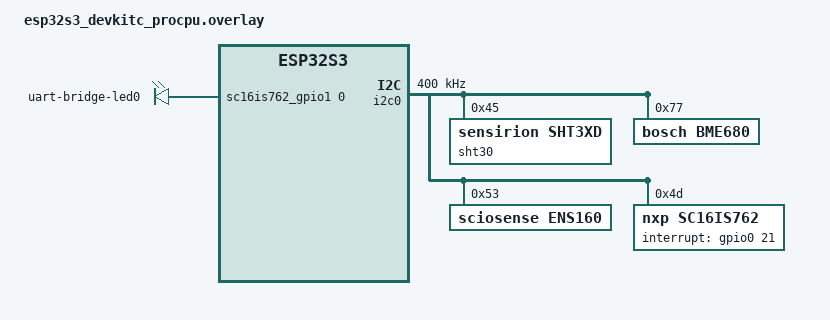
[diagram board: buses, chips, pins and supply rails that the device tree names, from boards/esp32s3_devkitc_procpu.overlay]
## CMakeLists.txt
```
cmake_minimum_required(VERSION 3.20.0)

set(ZephyrBuildConfiguration_ROOT ${CMAKE_SOURCE_DIR}/cmake)
# list(APPEND CONF_FILE ${CMAKE_CURRENT_SOURCE_DIR}/prj.conf)
find_package(Zephyr REQUIRED HINTS $ENV{ZEPHYR_BASE})
message("app: ZEPHYR_SKIA_FIRMWARE_CMAKE_DIR = ${ZEPHYR_SKIA_FIRMWARE_CMAKE_DIR}")

project(skia-sentinel-firmware VERSION 0.1.0)

target_sources(app PRIVATE src/main.c)
```

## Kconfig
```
menu "Zephyr"
source "Kconfig.zephyr"
endmenu

module = APP
module-str = APP
source "subsys/logging/Kconfig.template.log_config"

rsource "boards/Kconfig"
```

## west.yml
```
manifest:
  remotes:
    - name: zephyrproject-rtos
      url-base: https://github.com/zephyrproject-rtos
  projects:
    - name: zephyr
      remote: zephyrproject-rtos
      #revision: main
      revision: v4.0.0 # 9515a5228beb8dd6c77bc3c9b16e97422bd08cd3
      import:
        name-allowlist:
          - cmsis
          - hal_espressif
          - hal_xtensa
          - lvgl
          - littlefs
          - mbedtls
          - mcuboot
          - picolibc
          - segger
          - tinycrypt
      west-commands: scripts/west-commands.yml
      path: ext/zephyr

self:
  path: .
```

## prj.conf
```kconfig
CONFIG_WIFI=y
CONFIG_BT=y
CONFIG_I2C=y
CONFIG_GPIO=y
CONFIG_SENSOR=y
# CONFIG_OPENOCD_SUPPORT=y

# Sensors
CONFIG_CBPRINTF_FP_SUPPORT=y

# ESP32-C3 specific configuration.
CONFIG_LOG_PROCESS_THREAD_STARTUP_DELAY_MS=2000
CONFIG_LOG_BUFFER_SIZE=8192

# UART options
#CONFIG_UART_ASYNC_API=y
CONFIG_UART_INTERRUPT_DRIVEN=y
CONFIG_UART_LINE_CTRL=y

# #
# # [[ DEBUG ]]
# #

CONFIG_DEBUG=y
CONFIG_COMPILER_SAVE_TEMPS=y

# Shell
CONFIG_SHELL=y
CONFIG_SHELL_BACKENDS=y
CONFIG_SHELL_HELP=y
CONFIG_DEVICE_SHELL=y
CONFIG_I2C_LOG_LEVEL_OFF=y
CONFIG_SHELL_BACKEND_SERIAL_LOG_LEVEL_DBG=y
CONFIG_SENSOR_LOG_LEVEL_INF=y

# compiler
CONFIG_CONSOLE=y
CONFIG_DEBUG_OPTIMIZATIONS=y

# UART console
CONFIG_SERIAL=y
CONFIG_PRINTK=y
CONFIG_ASSERT=y
CONFIG_UART_CONSOLE=y

# Thread debugging configuration
CONFIG_THREAD_NAME=y
# CONFIG_THREAD_ANALYZER=y
# CONFIG_THREAD_ANALYZER_AUTO=y
# CONFIG_THREAD_ANALYZER_RUN_UNLOCKED=y
# CONFIG_THREAD_ANALYZER_USE_PRINTK=y
# CONFIG_THREAD_ANALYZER_LOG_LEVEL_DBG=y

# add asserts
CONFIG_ASSERT=y
CONFIG_ASSERT_VERBOSE=y
CONFIG_ASSERT_NO_COND_INFO=n
CONFIG_ASSERT_NO_MSG_INFO=n

# logging
CONFIG_LOG=y
CONFIG_LOG_SPEED=y
CONFIG_PINCTRL_LOG_LEVEL_DBG=y
CONFIG_KERNEL_LOG_LEVEL_INF=y
CONFIG_UART_LOG_LEVEL_DBG=y
CONFIG_UART_CONSOLE_LOG_LEVEL_DBG=y
CONFIG_GPIO_LOG_LEVEL_DBG=y
CONFIG_SENSOR_LOG_LEVEL_DBG=y
CONFIG_MFD_LOG_LEVEL_DBG=y
CONFIG_APP_LOG_LEVEL_DBG=y
```

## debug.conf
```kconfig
CONFIG_DEBUG=y
CONFIG_COMPILER_SAVE_TEMPS=y
CONFIG_GPIO=y

# Shell
CONFIG_SHELL=y
CONFIG_SHELL_BACKENDS=y
CONFIG_SHELL_HELP=y
# CONFIG_DEVICE_SHELL=y
CONFIG_I2C_LOG_LEVEL_OFF=y
CONFIG_SHELL_BACKEND_SERIAL_LOG_LEVEL_DBG=y

# compiler
CONFIG_CONSOLE=y
CONFIG_DEBUG_OPTIMIZATIONS=y

# UART console
CONFIG_SERIAL=y
CONFIG_PRINTK=y
CONFIG_ASSERT=y
CONFIG_UART_CONSOLE=y

# Thread debugging configuration
CONFIG_THREAD_NAME=y
# CONFIG_THREAD_ANALYZER=y
# CONFIG_THREAD_ANALYZER_AUTO=y
# CONFIG_THREAD_ANALYZER_RUN_UNLOCKED=y
# CONFIG_THREAD_ANALYZER_USE_PRINTK=y
# CONFIG_THREAD_ANALYZER_LOG_LEVEL_DBG=y

# add asserts
CONFIG_ASSERT=y
CONFIG_ASSERT_VERBOSE=y
CONFIG_ASSERT_NO_COND_INFO=n
CONFIG_ASSERT_NO_MSG_INFO=n

# logging
CONFIG_LOG=y
CONFIG_LOG_SPEED=y
CONFIG_PINCTRL_LOG_LEVEL_DBG=y
CONFIG_KERNEL_LOG_LEVEL_INF=y
CONFIG_UART_LOG_LEVEL_DBG=y
CONFIG_UART_CONSOLE_LOG_LEVEL_DBG=y
CONFIG_GPIO_LOG_LEVEL_DBG=y
CONFIG_SENSOR_LOG_LEVEL_DBG=y
CONFIG_MFD_LOG_LEVEL_DBG=y
CONFIG_APP_LOG_LEVEL_DBG=y
```

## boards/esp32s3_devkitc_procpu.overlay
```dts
/ {
  aliases {
    sensor-th = &sht30;
    sensor-thp = &bme680;
    sensor-tvoc = &ens160;
    uart-bridge = &sc16is762;
    uart-bridge-led0 = &uart_bridge_led0;
  };

  leds {
    compatible = "gpio-leds";
    uart_bridge_led0: uart_bridge_led0 {
      gpios = <&sc16is762_gpio1 0 GPIO_ACTIVE_HIGH>;
      label = "uart-bridge-led0";
    };
  };
};

&i2c0 {
  status = "okay";
  clock-frequency = < 400000 >;

  sht30: sensirion,sht3xd@45 {
    compatible = "sensirion,sht3xd";
    status = "okay";
    reg = < 0x45 >;
  };

	bme680: bosch,bme680@77 {
		compatible = "bosch,bme680";
    status = "okay";
		reg = <0x77>;
	};

	ens160: ens160@53 {
    compatible = "sciosense,ens160";
    status = "okay";
		reg = <0x53>;
	};

  sc16is762: nxp,sc16is762@4d {
    compatible = "nxp,sc16is762";
    status = "okay";
    reg = <0x4D>;
    xtal-freq = < 1843200 >;
    interrupt-gpios = <&gpio0 21 0>;

    sc16is762_uart0: nxp,sc16is762-uart0 {
      compatible = "nxp,sc16is762-uart-controller";
      uart-controller;
      channel = < 0 >;
    };

    sc16is762_gpio1: nxp,sc16is762-gpio1 {
      compatible = "nxp,sc16is762-gpio-controller";
      gpio-controller;
      channel = < 1 >;
      #gpio-cells = < 2 >;
      ngpios = < 4 >;
    };
  };

  // nordic_npm6001: nordic_npm6001@1 {
  //   compatible = "nordic,npm6001";
  //   reg = < 0x01 >;
  // };
};


// For I2C
// &i2c0 {
//   sc16is7xx: sc16is7xx@90 {
//     compatible = "nxp,sc16is7xx-i2c";
//     reg = < 0x90 >;

//     sc16is7xx_gpio {
//       compatible = "nxp,sc16is7xx-gpio-controller";
//       status = "okay";
//       gpio-controller;
//       #gpio-cells = <1>;
//       ngpios = <8>;
//     };

//     sc16is7xx_uart {
//       compatible = "nxp,sc16is7xx-uart-controller";
//       status = "okay";
//       uart-controller;
//       #gpio-cells = <1>;
//       ngpios = <8>;
//     };
//   };
// };
```

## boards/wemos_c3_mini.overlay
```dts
/ {
  aliases {
    sensor-th = &sht30;
    sensor-thp = &bme680;
    sensor-tvoc = &ens160;
    uart-bridge = &sc16is762;
    i2c0 = &wemos_c3_mini_i2c;
    uart-bridge-led0 = &uart_bridge_led0;
  };

  leds {
    compatible = "gpio-leds";
    uart_bridge_led0: uart_bridge_led0 {
      gpios = <&sc16is762_gpio1 0 GPIO_ACTIVE_HIGH>;
      label = "uart-bridge-led0";
    };
  };
};

&i2c0 {
  clock-frequency = < 400000 >;

  sht30: sensirion,sht3xd@45 {
    compatible = "sensirion,sht3xd";
    status = "okay";
    reg = < 0x45 >;
  };

	bme680: bosch,bme680@77 {
		compatible = "bosch,bme680";
    status = "okay";
		reg = <0x77>;
	};

	ens160: sciosense,ens160@53 {
    compatible = "sciosense,ens160";
    status = "okay";
		reg = <0x53>;
	};

  sc16is762: nxp,sc16is762@4d {
    compatible = "nxp,sc16is762";
    status = "okay";
    reg = <0x4D>;
    xtal-freq = < 1843200 >;
    interrupt-gpios = <&gpio0 21 0>;

    sc16is762_uart0: nxp,sc16is762-uart0 {
      compatible = "nxp,sc16is762-uart-controller";
      uart-controller;
      channel = < 0 >;
    };

    sc16is762_gpio1: nxp,sc16is762-gpio1 {
      compatible = "nxp,sc16is762-gpio-controller";
      gpio-controller;
      channel = < 1 >;
      #gpio-cells = < 2 >;
      ngpios = < 4 >;
    };
  };

  // nordic_npm6001: nordic_npm6001@1 {
  //   compatible = "nordic,npm6001";
  //   reg = < 0x01 >;
  // };
};


// For I2C
// &i2c0 {
//   sc16is7xx: sc16is7xx@90 {
//     compatible = "nxp,sc16is7xx-i2c";
//     reg = < 0x90 >;

//     sc16is7xx_gpio {
//       compatible = "nxp,sc16is7xx-gpio-controller";
//       status = "okay";
//       gpio-controller;
//       #gpio-cells = <1>;
//       ngpios = <8>;
//     };

//     sc16is7xx_uart {
//       compatible = "nxp,sc16is7xx-uart-controller";
//       status = "okay";
//       uart-controller;
//       #gpio-cells = <1>;
//       ngpios = <8>;
//     };
//   };
// };
```

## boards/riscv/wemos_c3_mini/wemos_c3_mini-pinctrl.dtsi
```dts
/*
 * Copyright (c) 2022 Espressif Systems (Shanghai) Co., Ltd.
 *
 * SPDX-License-Identifier: Apache-2.0
 */

#include <zephyr/dt-bindings/pinctrl/esp-pinctrl-common.h>
#include <dt-bindings/pinctrl/esp32c3-pinctrl.h>
#include <zephyr/dt-bindings/pinctrl/esp32c3-gpio-sigmap.h>

&pinctrl {
  uart0_default: uart0_default {
    group1 {
      pinmux =
        <UART0_TX_GPIO21>,
        <UART0_RX_GPIO20>;
    };
  };

  spim2_default: spim2_default {
    group1 {
      pinmux =
        <SPIM2_SCLK_GPIO1>,
        <SPIM2_MISO_GPIO0>,
        <SPIM2_CSEL_GPIO2>;
    };
    group2 {
      pinmux = <SPIM2_MOSI_GPIO4>;
      output-low;
    };
  };

  i2c0_default: i2c0_default {
    group1 {
      // pinmux =
      //   <I2C0_SDA_GPIO10>,
      //   <I2C0_SCL_GPIO8>;
      // bias-pull-up;
      // drive-open-drain;
      // output-high;
      pinmux = <I2C0_SCL_GPIO10>;
    };
    group2 {
        pinmux = <I2C0_SDA_GPIO8>;
        bias-pull-up;
        drive-open-drain;
        output-high;
    };
  };
};
```

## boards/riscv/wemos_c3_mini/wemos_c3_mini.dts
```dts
/*
 * SPDX-License-Identifier: Apache-2.0
 */

/dts-v1/;

#include <espressif/esp32c3.dtsi>
#include "wemos_c3_mini-pinctrl.dtsi"
#include "wemos_c3_mini_connector.dtsi"

/ {
  model = "wemos_c3_mini";
  compatible = "espressif,esp32c3";

  aliases {
    sw0 = &user_button;
    led0 = &user_led;
    i2c-0 = &i2c0;
    watchdog0 = &wdt0;
  };

  chosen {
    zephyr,sram = &sram0;
    zephyr,console = &usb_serial;
    zephyr,shell-uart = &usb_serial;
    zephyr,flash = &flash0;
  };

  leds {
    compatible = "gpio-leds";
    user_led: led {
      gpios = <&gpio0 3 GPIO_ACTIVE_HIGH>;
      label = "LED1";
    };
  };

  gpio_keys {
    compatible = "gpio-keys";
    user_button: user_button {
      label = "0";
      gpios = <&gpio0 0 (GPIO_PULL_UP | GPIO_ACTIVE_LOW)>;
    };
  };
};

&cpu0 {
  clock-frequency = <ESP32_CLK_CPU_160M>;
};

&usb_serial {
  status = "okay";
};

&uart0 {
  status = "okay";
  current-speed = <115200>;
  pinctrl-0 = <&uart0_default>;
  pinctrl-names = "default";
};

&spi2 {
  status = "okay";
  pinctrl-0 = <&spim2_default>;
  pinctrl-names = "default";
	#address-cells = <1>;
	#size-cells = <0>;
};

&i2c0 {
	status = "okay";
	clock-frequency = <I2C_BITRATE_STANDARD>;
	pinctrl-0 = <&i2c0_default>;
	pinctrl-names = "default";
};

&gpio0 {
  status = "okay";
};

&timer0 {
  status = "disabled";
};

&timer1 {
  status = "disabled";
};

&trng0 {
  status = "okay";
};

&flash0 {
  status = "okay";
  partitions {
    compatible = "fixed-partitions";
    #address-cells = <1>;
    #size-cells = <1>;

    /* Reserve 60kB for the bootloader */
    boot_partition: partition@0000 {
      label = "mcuboot";
      reg = <0x00000000 0x0000F000>;
      read-only;
    };

    /* Reserve 1024kB for the application in slot 0 */
    slot0_partition: partition@10000 {
      label = "image-0";
      reg = <0x00010000 0x00100000>;
    };

    /* Reserve 1024kB for the application in slot 1 */
    slot1_partition: partition@110000 {
      label = "image-1";
      reg = <0x00110000 0x00100000>;
    };

    /* Reserve 256kB for the scratch partition */
    scratch_partition: partition@210000 {
      label = "image-scratch";
      reg = <0x00210000 0x00040000>;
    };

    storage_partition: partition@250000 {
      label = "storage";
      reg = <0x00250000 0x00006000>;
    };
  };
};

&wdt0 {
  status = "okay";
};
```

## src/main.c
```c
/*
 * Copyright (c) 2016 Intel Corporation
 *
 * SPDX-License-Identifier: Apache-2.0
 */

#include <stdio.h>

#include <zephyr/device.h>
#include <zephyr/devicetree.h>
#include <zephyr/drivers/gpio.h>
#include <zephyr/drivers/sensor.h>
#include <zephyr/drivers/i2c.h>
#include <zephyr/kernel.h>
#include <zephyr/drivers/sensor/skia_ens160.h>

/* 1000 msec = 1 sec */
#define CYCLE_TIME_MS 1000
#define POLL_CYCLES_COUNT 5
// #define LED0_NODE DT_ALIAS(led0)

/*
 * A build error on this line means your board is unsupported.
 * See the sample documentation for information on how to fix this.
 */
// static const struct gpio_dt_spec led = GPIO_DT_SPEC_GET(LED0_NODE, gpios);

// const struct device* const dev_th = DEVICE_DT_GET_ONE(DT_ALIAS(sensor_th));
static bool th_ready;
static bool gpio_ready;
static struct sensor_value curr_temp = {0}, curr_hum = {0};

static void i2c_scan(const struct device *i2c_dev);
static void measure_th_(const struct device* const dev);
static void measure_thp_(const struct device* const dev);
static void measure_voc_eco2_(const struct device* const dev);

int main(void)
{
    while(esp_log_timestamp() < (20*1000)) {
        k_sleep(K_MSEC(200));
    }

    int ret;
    int cycle = 0;
    gpio_ready = false;

    printk("initializing...\n");

    const struct device *i2c0_dev = DEVICE_DT_GET(DT_NODELABEL(i2c0));

    i2c_scan(i2c0_dev);

    const struct gpio_dt_spec led = GPIO_DT_SPEC_GET(DT_ALIAS(uart_bridge_led0), gpios);
    const struct device* const dev_voc_eco2 = DEVICE_DT_GET(DT_NODELABEL(ens160));
    const struct device* const dev_th = DEVICE_DT_GET(DT_NODELABEL(sht30));
    const struct device* const dev_thp = DEVICE_DT_GET(DT_NODELABEL(bme680));
    int rc;

    k_msleep(CYCLE_TIME_MS * POLL_CYCLES_COUNT);

    printf("Is device %s ready?\n", dev_th->name);
    if (!device_is_ready(dev_th)) {
        printf("Device %s is not ready\n", dev_th->name);
        return 0;
    }

    printf("Is device %s ready?\n", dev_thp->name);
    if (!device_is_ready(dev_thp)) {
        printf("Device %s is not ready\n", dev_thp->name);
        return 0;
    }

    printk("Is device %s ready?\n", dev_voc_eco2->name);
    if (!device_is_ready(dev_voc_eco2)) {
        printf("Device %s is not ready\n", dev_voc_eco2->name);
        return 0;
    }

    printk("Is GPIO device <%s %d> ready?\n", led.port->name, led.pin);
	if (!gpio_is_ready_dt(&led)) {
        printk("failed to initialize led device!\n");
	} else {
        printk("Configuring GPIO device <%s %d>...\n", led.port->name, led.pin);
        ret = gpio_pin_configure_dt(&led, GPIO_OUTPUT_ACTIVE);
        if (ret < 0) {
            printk("failed to configure led pin!\n");
        } else {
            gpio_ready = true;
        }
    }

    k_msleep(CYCLE_TIME_MS * POLL_CYCLES_COUNT);

    while (true) {
        if (cycle % POLL_CYCLES_COUNT == 0) {
            printk("\n");
            th_ready = false;
            measure_th_(dev_th);
            measure_thp_(dev_thp);
            measure_voc_eco2_(dev_voc_eco2);
            printk("\n");
        }

        cycle++;

        if (gpio_ready) {
            ret = gpio_pin_toggle_dt(&led);
            if (ret) {
                printk("failed to toggle led! Error code = %d\n", ret);
                return 0;
            }
        }

        printk(" * ");
        k_msleep(CYCLE_TIME_MS);
    }

    return 0;
}


static void i2c_scan(const struct device *i2c_dev) {

    if (!device_is_ready(i2c_dev)) {
		printk("I2C: Device driver not found.\n");
		return;
	}

	printk("\n    | 0x00 0x01 0x02 0x03 0x04 0x05 0x06 0x07 0x08 0x09 0x0a 0x0b 0x0c 0x0d 0x0e 0x0f |\n");
	printk(  "----|---------------------------------------------------------------------------------");

	uint8_t error = 0u;
	uint8_t dst;
	uint8_t i2c_dev_cnt = 0;
	struct i2c_msg msgs[1];
	msgs[0].buf = &dst;
	msgs[0].len = 1U;
	msgs[0].flags = I2C_MSG_WRITE | I2C_MSG_STOP;

	for (uint16_t x = 0; x <= 0x7f; x++) {
		if (x % 0x10 == 0) {
			printk("|\n0x%02x| ",x);
		}

		if (x >= 1 && x <= 0x7f) {
			error = i2c_transfer(i2c_dev, &msgs[0], 1, x);
            if (error == 0) {
                printk("0x%02x ",x);
                i2c_dev_cnt++;
            } else {
                printk(" --  ");
            }
		} else {
			printk("     ");
		}

        k_msleep(50);
	}
    printk("|\n");
	printk("\nI2C device(s) found on the bus: %d\nScanning done.\n\n", i2c_dev_cnt);
	printk("Find the registered I2C address on: https://i2cdevices.org/addresses\n\n");
}

static void measure_th_(const struct device* const dev)
{
    int rc;
    struct sensor_value temp, hum;

    rc = sensor_sample_fetch(dev);
    if (rc == 0) { rc = sensor_channel_get(dev, SENSOR_CHAN_AMBIENT_TEMP, &temp); }
    if (rc == 0) { rc = sensor_channel_get(dev, SENSOR_CHAN_HUMIDITY, &hum); }
    if (rc != 0) {
        printf("Failed to get measurements from sensor %s!\n", dev->name);
        return;
    }

    printf("SHT3XD: T = %.2f C ; RH = %0.2f %%\n", sensor_value_to_double(&temp), sensor_value_to_double(&hum));
}

static void measure_thp_(const struct device* const dev)
{
    int rc;
    struct sensor_value temp, press, humidity, gas_res;

    rc = sensor_sample_fetch(dev);
    if (rc == 0) rc = sensor_channel_get(dev, SENSOR_CHAN_AMBIENT_TEMP, &temp);
    if (rc == 0) rc = sensor_channel_get(dev, SENSOR_CHAN_PRESS, &press);
    if (rc == 0) rc = sensor_channel_get(dev, SENSOR_CHAN_HUMIDITY, &humidity);
    if (rc == 0) rc = sensor_channel_get(dev, SENSOR_CHAN_GAS_RES, &gas_res);

    if (rc == 0) {
        th_ready = true;
        curr_temp = temp;
        curr_hum = humidity;
        printf(
            "BMP680: T = %d.%06d C; P = %d.%06d kPa; H = %d.%06d %%; G = %d.%06d R\n",
            temp.val1,
            temp.val2,
            press.val1,
            press.val2,
            humidity.val1,
            humidity.val2,
            gas_res.val1,
            gas_res.val2
        );
    } else {
        printf("Failed to get measurements from sensor %s!\n", dev->name);
    }
}

static void measure_voc_eco2_(const struct device* const dev)
{
    int rc;
    struct sensor_value tvoc, eco2, aqi_uba, part_id, fw_major, fw_minor, fw_build, opmode, status;
    struct sensor_value hp0_bl, hp1_bl, hp2_bl, hp3_bl, hp0_rs, hp1_rs, hp2_rs, hp3_rs;

    if (th_ready) {
        rc = sensor_attr_set(dev, SENSOR_CHAN_AMBIENT_TEMP, 0, &curr_temp);
        if (rc == 0) sensor_attr_set(dev, SENSOR_CHAN_HUMIDITY, 0, &curr_hum);

        if (rc != 0) {
            printf("ENS160: Failed to setup temperature and humidity! Code: %d\n", rc);
        }
    }

    rc = sensor_sample_fetch(dev);
    if (rc == 0) rc = sensor_channel_get(dev, SENSOR_CHAN_ENS160_REG_STATUS, &status);
    if (rc == 0) rc = sensor_channel_get(dev, SENSOR_CHAN_VOC, &tvoc);
    if (rc == 0) rc = sensor_channel_get(dev, SENSOR_CHAN_CO2, &eco2);
    if (rc == 0) rc = sensor_channel_get(dev, SENSOR_CHAN_ENS160_AQI_UBA, &aqi_uba);
    if (rc == 0) rc = sensor_channel_get(dev, SENSOR_CHAN_ENS160_PART_ID, &part_id);
    if (rc == 0) rc = sensor_channel_get(dev, SENSOR_CHAN_ENS160_REVISION_MAJOR, &fw_major);
    if (rc == 0) rc = sensor_channel_get(dev, SENSOR_CHAN_ENS160_REVISION_MINOR, &fw_minor);
    if (rc == 0) rc = sensor_channel_get(dev, SENSOR_CHAN_ENS160_REVISION_BUILD, &fw_build);
    if (rc == 0) rc = sensor_channel_get(dev, SENSOR_CHAN_ENS160_OPMODE, &opmode);
    if (rc == 0) rc = sensor_channel_get(dev, SENSOR_CHAN_ENS160_HOTPLATE0_BASELINE, &hp0_bl);
    if (rc == 0) rc = sensor_channel_get(dev, SENSOR_CHAN_ENS160_HOTPLATE1_BASELINE, &hp1_bl);
    if (rc == 0) rc = sensor_channel_get(dev, SENSOR_CHAN_ENS160_HOTPLATE2_BASELINE, &hp2_bl);
    if (rc == 0) rc = sensor_channel_get(dev, SENSOR_CHAN_ENS160_HOTPLATE3_BASELINE, &hp3_bl);
    if (rc == 0) rc = sensor_channel_get(dev, SENSOR_CHAN_ENS160_HOTPLATE0_RESISTANCE, &hp0_rs);
    if (rc == 0) rc = sensor_channel_get(dev, SENSOR_CHAN_ENS160_HOTPLATE1_RESISTANCE, &hp1_rs);
    if (rc == 0) rc = sensor_channel_get(dev, SENSOR_CHAN_ENS160_HOTPLATE2_RESISTANCE, &hp2_rs);
    if (rc == 0) rc = sensor_channel_get(dev, SENSOR_CHAN_ENS160_HOTPLATE3_RESISTANCE, &hp3_rs);

    if (rc == 0) {
        // printf(
        //     "ENS160: sensor '%s': status = %d, part_id = %d, major = %d, minor = %d, build = %d, opmode = %d\n",
        //     dev->name,
        //     status.val1,
        //     part_id.val1,
        //     fw_major.val1,
        //     fw_minor.val1,
        //     fw_build.val1,
        //     opmode.val1
        // );

        printf(
            "ENS160: status: %d, TVOC = %d.%06d ppb; eCO2 = %d.%06d ppm; AQI-UBA: %d\n",
            status.val1,
            tvoc.val1,
            tvoc.val2,
            eco2.val1,
            eco2.val2,
            aqi_uba.val1
        );
        printf(
            "ENS160: HP0_BL = %d; HP1_BL = %d; HP2_BL = %d; HP3_BL = %d; \n",
            hp0_bl.val1,
            hp1_bl.val1,
            hp2_bl.val1,
            hp3_bl.val1
        );
        printf(
            "ENS160: HP0_RS = %d; HP1_RS = %d; HP2_RS = %d; HP3_RS = %d; \n",
            hp0_rs.val1,
            hp1_rs.val1,
            hp2_rs.val1,
            hp3_rs.val1
        );
    } else {
        sensor_channel_get(dev, SENSOR_CHAN_ENS160_REG_STATUS, &status);
        sensor_channel_get(dev, SENSOR_CHAN_ENS160_OPMODE, &opmode);
        printf("Failed to get measurements from sensor %s, error code %d, opmode = %d, status = %d!\n", dev->name, rc, opmode.val1, status.val1);
    }
}
```
